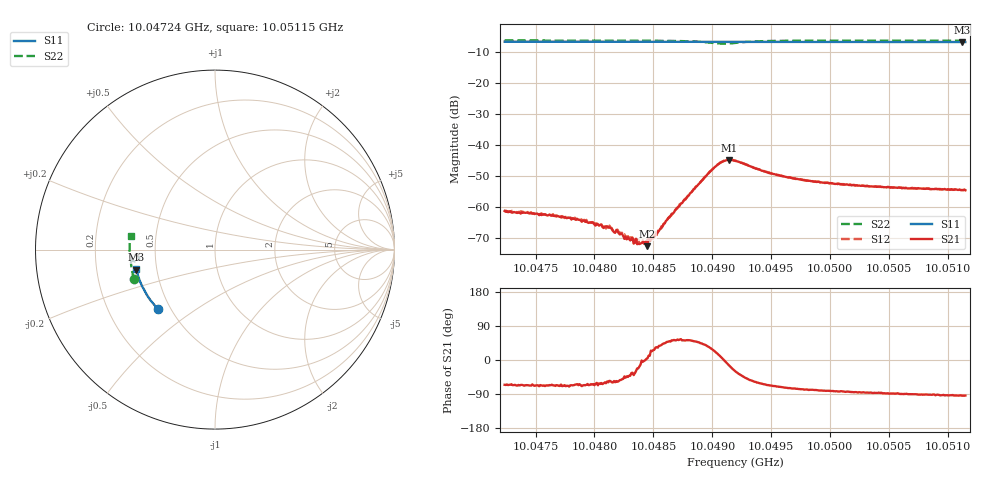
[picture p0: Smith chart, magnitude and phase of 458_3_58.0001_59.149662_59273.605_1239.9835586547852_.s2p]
#  HZ  S  RI  R  50.00
! Rohde & Schwarz Vector Network Analyzer
! Rohde-Schwarz,ZNB20-2Port,1311601062101988,3.16
! Created: UTC 3/21/2024, 1:10:51 AM
! freq[Hz]  re:S11  im:S11  re:S21  im:S21  re:S12  im:S12  re:S22  im:S22
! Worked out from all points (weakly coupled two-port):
!   401 points, 10.04724 GHz to 10.05115 GHz, reference 50 ohm
!   highest |S21| = -44.84 dB at 10.04914 GHz (marker M1); lowest = -72.6 dB at 10.04845 GHz (marker M2)
!   lowest |S11| = -6.9 dB at 10.05112 GHz (marker M3), VSWR 2.65, Z = 19.1 - j5.39 ohm
!   |S11| at or under -10 dB: nowhere
!   |S22| runs from -7.4 to -6.4 dB; largest |S21 - S12| = 0.00039
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1.0047238e10  -0.3165 -0.3323  0.00036 -0.000786  0.000413 -0.000764  -0.4498 -0.1661
1.0047629e10  -0.3342 -0.3133  0.000289 -0.000674  0.000327 -0.00066  -0.4576 -0.1404
1.0047893e10  -0.3455 -0.3  0.000209 -0.000542  0.000297 -0.000551  -0.4619 -0.1225
1.0048117e10  -0.3545 -0.2884  0.000241 -0.000399  0.000245 -0.000386  -0.4652 -0.1065
1.0048215e10  -0.3585 -0.2833  0.000218 -0.00029  0.000267 -0.000282  -0.4661 -0.0994
1.0048264e10  -0.3603 -0.2806  0.000228 -0.000242  0.000239 -0.000235  -0.4666 -0.0957
1.0048381e10  -0.3649 -0.2745  0.000243 -7.41e-05  0.000251 -6.46e-05  -0.4676 -0.0864
1.004845e10  -0.3675 -0.2707  0.000234 1.69e-05  0.00029 5.44e-05  -0.4678 -0.081
1.0048479e10  -0.3687 -0.2691  0.000298 0.000137  0.00027 0.000115  -0.468 -0.0786
1.0048508e10  -0.3697 -0.2676  0.000298 0.000153  0.000286 0.000184  -0.468 -0.076
1.0048547e10  -0.3711 -0.2654  0.00033 0.000252  0.000338 0.000269  -0.4679 -0.0727
1.0048635e10  -0.3743 -0.2605  0.000452 0.00053  0.000394 0.000544  -0.4673 -0.0646
1.0048743e10  -0.3781 -0.2546  0.000718 0.000906  0.000655 0.001  -0.4649 -0.054
1.0048987e10  -0.3862 -0.2407  0.00327 0.00195  0.00316 0.00215  -0.4401 -0.032
1.0049065e10  -0.3885 -0.2362  0.00506 0.000927  0.00502 0.0012  -0.4253 -0.0394
1.0049144e10  -0.391 -0.2322  0.00554 -0.00145  0.00565 -0.00109  -0.424 -0.058
1.0049192e10  -0.3927 -0.2295  0.00487 -0.00271  0.00505 -0.0024  -0.4322 -0.0658
1.0049495e10  -0.4021 -0.2119  0.00134 -0.0032  0.00153 -0.00315  -0.468 -0.0463
1.0049847e10  -0.412 -0.1909  0.000525 -0.00256  0.000642 -0.00252  -0.475 -0.0157
1.0050502e10  -0.4273 -0.1509  4.07e-05 -0.00208  0.000168 -0.00207  -0.4751 0.0322
1.0051118e10  -0.438 -0.112  -0.000143 -0.00187  -1.56e-05 -0.00188  -0.4703 0.074
1.0051147e10  -0.4385 -0.1102  -0.000126 -0.00186  -3.73e-05 -0.00187  -0.4701 0.0759
